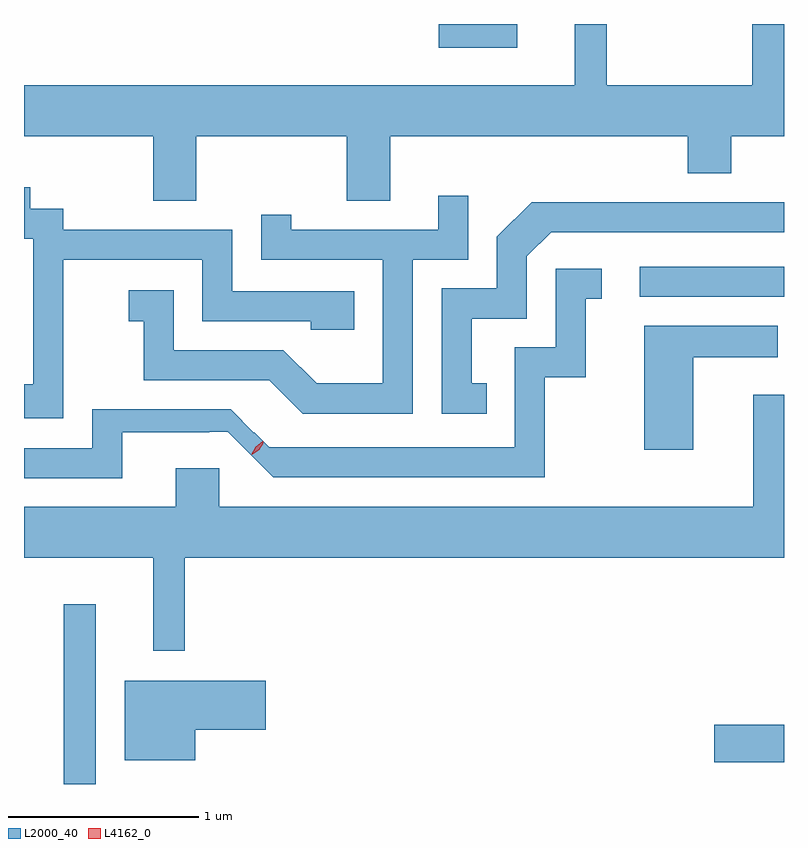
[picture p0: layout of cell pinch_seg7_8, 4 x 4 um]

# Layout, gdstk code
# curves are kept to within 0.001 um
import gdstk
lib = gdstk.Library(unit=1e-6, precision=1e-09)
def R(c, l, rs):  # rectangles x0, y0, x1, y1
    for r in rs: c.add(gdstk.rectangle(r[:2], r[2:], *l))
def P(c, l, *ps):  # polygons
    for p in ps: c.add(gdstk.Polygon(p, *l))
L2000_40 = (2000, 40)
L4162_0 = (4162, 0)

pinch_seg7_8 = lib.new_cell('pinch_seg7_8')
R(pinch_seg7_8, L2000_40, [(1187.161,1795.266,1187.329,1796.213), (1190.586,1795.381,1190.952,1795.579), (1190.193,1797.831,1190.952,1797.989), (1189.136,1799.141,1189.549,1799.266)])
P(pinch_seg7_8, L2000_40, [(1187.859,1798.676),(1188.651,1798.676),(1188.651,1798.336),(1188.879,1798.336),(1188.879,1798.676),(1190.446,1798.676),(1190.446,1798.481),(1190.674,1798.481),(1190.674,1798.676),(1190.952,1798.676),(1190.952,1799.266),(1190.786,1799.266),(1190.786,1798.944),(1190.019,1798.944),(1190.019,1799.266),(1189.851,1799.266),(1189.851,1798.944),(1186.952,1798.944),(1186.952,1798.676),(1187.631,1798.676),(1187.631,1798.336),(1187.859,1798.336)],
  [(1187.159,1798.026),(1187.891,1798.026),(1187.891,1797.701),(1188.461,1797.701),(1188.461,1797.656),(1188.689,1797.656),(1188.689,1797.859),(1188.049,1797.859),(1188.049,1798.184),(1187.159,1798.184),(1187.159,1798.294),(1186.984,1798.294),(1186.984,1798.408),(1186.952,1798.408),(1186.952,1798.136),(1187.001,1798.136),(1187.001,1797.369),(1186.952,1797.369),(1186.952,1797.191),(1187.159,1797.191)],
  [(1188.999,1798.026),(1189.289,1798.026),(1189.289,1798.363),(1189.131,1798.363),(1189.131,1798.184),(1188.359,1798.184),(1188.359,1798.263),(1188.201,1798.263),(1188.201,1798.026),(1188.841,1798.026),(1188.841,1797.374),(1188.492,1797.374),(1188.317,1797.549),(1187.739,1797.549),(1187.739,1797.864),(1187.503,1797.864),(1187.503,1797.701),(1187.581,1797.701),(1187.581,1797.391),(1188.244,1797.391),(1188.419,1797.216),(1188.999,1797.216)],
  [(1189.388,1797.374),(1189.309,1797.374),(1189.309,1797.716),(1189.599,1797.716),(1189.599,1798.044),(1189.727,1798.171),(1190.952,1798.171),(1190.952,1798.329),(1189.624,1798.329),(1189.441,1798.147),(1189.441,1797.874),(1189.151,1797.874),(1189.151,1797.216),(1189.388,1797.216)],
  [(1187.469,1797.118),(1188.025,1797.119),(1188.263,1796.881),(1189.694,1796.881),(1189.694,1797.406),(1189.909,1797.406),(1189.909,1797.821),(1189.993,1797.821),(1189.993,1797.979),(1189.751,1797.979),(1189.751,1797.564),(1189.536,1797.564),(1189.536,1797.039),(1188.242,1797.038),(1188.039,1797.239),(1187.311,1797.239),(1187.311,1797.034),(1186.952,1797.034),(1186.952,1796.876),(1187.469,1796.876)],
  [(1190.474,1797.511),(1190.918,1797.511),(1190.918,1797.679),(1190.216,1797.679),(1190.216,1797.026),(1190.474,1797.026)],
  [(1187.799,1796.456),(1190.952,1796.456),(1190.952,1797.314),(1190.791,1797.314),(1190.791,1796.724),(1187.979,1796.724),(1187.979,1796.929),(1187.751,1796.929),(1187.751,1796.724),(1186.952,1796.724),(1186.952,1796.456),(1187.631,1796.456),(1187.631,1795.968),(1187.799,1795.968)],
  [(1187.854,1795.551),(1188.224,1795.551),(1188.224,1795.809),(1187.481,1795.809),(1187.481,1795.391),(1187.854,1795.391)])
P(pinch_seg7_8, L4162_0, [(1188.148,1796.998),(1188.148,1796.999),(1188.171,1797.04),(1188.209,1797.069),(1188.21,1797.069),(1188.21,1797.068),(1188.186,1797.027),(1188.149,1796.998)],
  [(1188.154,1797.001),(1188.154,1797.002),(1188.175,1797.038),(1188.209,1797.061),(1188.21,1797.061),(1188.21,1797.06),(1188.189,1797.024),(1188.155,1797.001)])

lib.write_gds('pinch_seg7_8.gds')
